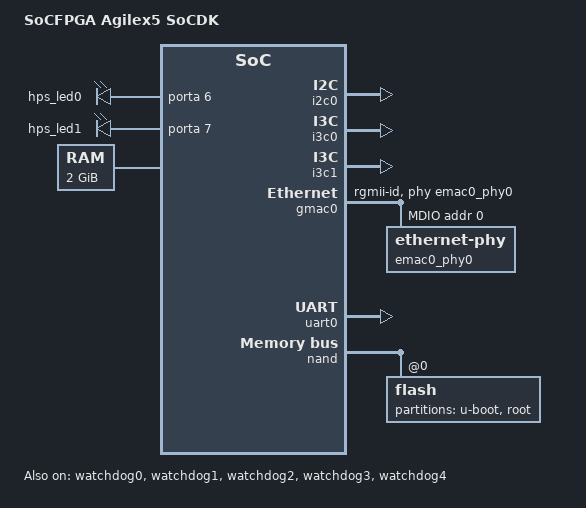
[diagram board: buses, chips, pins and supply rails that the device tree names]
// SPDX-License-Identifier:     GPL-2.0
/*
 * Copyright (C) 2023, Intel Corporation
 */
#include "socfpga_agilex5.dtsi"

/ {
	model = "SoCFPGA Agilex5 SoCDK";
	compatible = "intel,socfpga-agilex5-socdk", "intel,socfpga-agilex";

	aliases {
		serial0 = &uart0;
		ethernet0 = &gmac0;
		ethernet2 = &gmac2;
	};

	chosen {
		stdout-path = "serial0:115200n8";
	};

	leds {
		compatible = "gpio-leds";
		hps0 {
			label = "hps_led0";
			gpios = <&porta 6 GPIO_ACTIVE_HIGH>;
		};

		hps1 {
			label = "hps_led1";
			gpios = <&porta 7 GPIO_ACTIVE_HIGH>;
		};
	};

	memory {
		device_type = "memory";
		reg = <0x0 0x80000000 0x0 0x80000000>;
		#address-cells = <0x2>;
		#size-cells = <0x2>;
		u-boot,dm-pre-reloc;
	};
};

&gpio0 {
	status = "okay";
};

&i2c0 {
	status = "okay";
};

&i3c0 {
	status = "okay";
};

&i3c1 {
	status = "okay";
};

&gmac0 {
	status = "okay";
	phy-mode = "rgmii-id";
	phy-handle = <&emac0_phy0>;

	max-frame-size = <9000>;

	mdio0 {
		#address-cells = <1>;
		#size-cells = <0>;
		compatible = "snps,dwmac-mdio";
		emac0_phy0: ethernet-phy@0 {
			reg = <0>;
		};
	};
};

&gmac2 {
	status = "disabled";
	phy-mode = "rgmii-id";
	phy-handle = <&emac2_phy0>;

	max-frame-size = <9000>;

	mdio0 {
		#address-cells = <1>;
		#size-cells = <0>;
		compatible = "snps,dwmac-mdio";
		emac2_phy0: ethernet-phy@0 {
			reg = <0>;
		};
	};
};

&osc1 {
	clock-frequency = <25000000>;
};

&uart0 {
	status = "okay";
};

&watchdog0 {
	status = "okay";
};

&watchdog1 {
	status = "okay";
};

&watchdog2 {
	status = "okay";
};

&watchdog3 {
	status = "okay";
};

&watchdog4 {
	status = "okay";
};

&nand {
	status = "okay";

	flash@0 {
		#address-cells = <1>;
		#size-cells = <1>;
		reg = <0>;
		nand-bus-width = <8>;

		partition@0 {
			label = "u-boot";
			reg = <0 0x200000>;
		};
		partition@200000 {
			label = "root";
			reg = <0x200000 0xffe00000>;
		};
	};
};

&temp_volt {
        voltage {
                #address-cells = <1>;
                #size-cells = <0>;
                input@2 {
                        label = "0.8V VCC";
                        reg = <2>;
                };

                input@3 {
                        label = "1.8V VCCIO_SDM";
                        reg = <3>;
                };

                input@4 {
                        label = "1.8V VCCPT";
                        reg = <4>;
                };

                input@5 {
                        label = "1.2V VCCCRCORE";
                        reg = <5>;
                };

                input@6 {
                        label = "0.9V VCCH";
                        reg = <6>;
                };

                input@7 {
                        label = "0.8V VCCL";
                        reg = <7>;
                };
        };

        temperature {
                #address-cells = <1>;
                #size-cells = <0>;

                input@0 {
                        label = "Main Die SDM";
                        reg = <0x0>;
                };

                input@10001 {
                        label = "Main Die corner bottom left max";
                        reg = <0x10001>;
                };

                input@30001 {
                        label = "Main Die corner bottom right max";
                        reg = <0x30001>;
                };

                input@40001 {
                        label = "Main Die corner top right max";
                        reg = <0x40001>;
                };
        };
};
